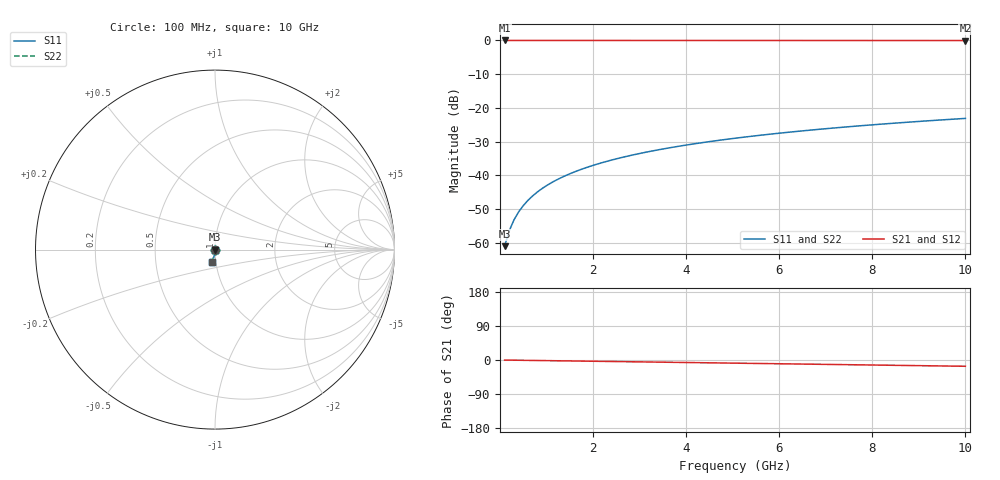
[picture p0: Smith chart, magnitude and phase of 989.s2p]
# Hz S RI R 50.00
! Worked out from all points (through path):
!   100 points, 100 MHz to 10 GHz, reference 50 ohm
!   highest |S21| = 0.00 dB at 100 MHz (marker M1); lowest = 0.0 dB at 10 GHz (marker M2)
!   group delay of S21, straight-line fit = 4.6 ps
!   lowest |S11| = -61.0 dB at 100 MHz (marker M3), VSWR 1.00, Z = 50.1 - j0.0702 ohm
!   |S11| at or under -10 dB: start of sweep to end of sweep
!   |S22| runs from -61.0 to -23.1 dB; largest |S21 - S12| = 0
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1e8  0.000545 -0.000701  0.9994 -0.00287  0.9994 -0.00287  0.000545 -0.000701
2e8  0.000541 -0.0014  0.9994 -0.00574  0.9994 -0.00574  0.000541 -0.0014
3e8  0.000532 -0.0021  0.9994 -0.00861  0.9994 -0.00861  0.000532 -0.0021
4e8  0.000519 -0.0028  0.9994 -0.0115  0.9994 -0.0115  0.000519 -0.0028
5e8  0.000501 -0.00351  0.9993 -0.0143  0.9993 -0.0143  0.000501 -0.00351
6e8  0.000479 -0.00421  0.9993 -0.0172  0.9993 -0.0172  0.000479 -0.00421
7e8  0.000453 -0.00491  0.9992 -0.0201  0.9992 -0.0201  0.000453 -0.00491
8e8  0.000422 -0.00561  0.9991 -0.023  0.9991 -0.023  0.000422 -0.00561
9e8  0.000387 -0.00631  0.9991 -0.0258  0.9991 -0.0258  0.000387 -0.00631
1.1e9  0.000306 -0.00771  0.9989 -0.0316  0.9989 -0.0316  0.000306 -0.00771
1.4e9  0.000153 -0.00982  0.9985 -0.0402  0.9985 -0.0402  0.000153 -0.00982
1.8e9  -0.000107 -0.0126  0.998 -0.0516  0.998 -0.0516  -0.000107 -0.0126
2.1e9  -0.000346 -0.0147  0.9975 -0.0603  0.9975 -0.0603  -0.000346 -0.0147
2.5e9  -0.00072 -0.0175  0.9966 -0.0717  0.9966 -0.0717  -0.00072 -0.0175
2.9e9  -0.00116 -0.0203  0.9957 -0.0832  0.9957 -0.0832  -0.00116 -0.0203
3.4e9  -0.0018 -0.0238  0.9943 -0.0975  0.9943 -0.0975  -0.0018 -0.0238
4.2e9  -0.00303 -0.0293  0.9916 -0.1204  0.9916 -0.1204  -0.00303 -0.0293
5.1e9  -0.00473 -0.0355  0.9879 -0.1462  0.9879 -0.1462  -0.00473 -0.0355
5.9e9  -0.0065 -0.0409  0.984 -0.169  0.984 -0.169  -0.0065 -0.0409
6.7e9  -0.00853 -0.0462  0.9796 -0.1917  0.9796 -0.1917  -0.00853 -0.0462
8.4e9  -0.0137 -0.0572  0.9683 -0.2397  0.9683 -0.2397  -0.0137 -0.0572
1e10  -0.0195 -0.067  0.9553 -0.2843  0.9553 -0.2843  -0.0195 -0.067
